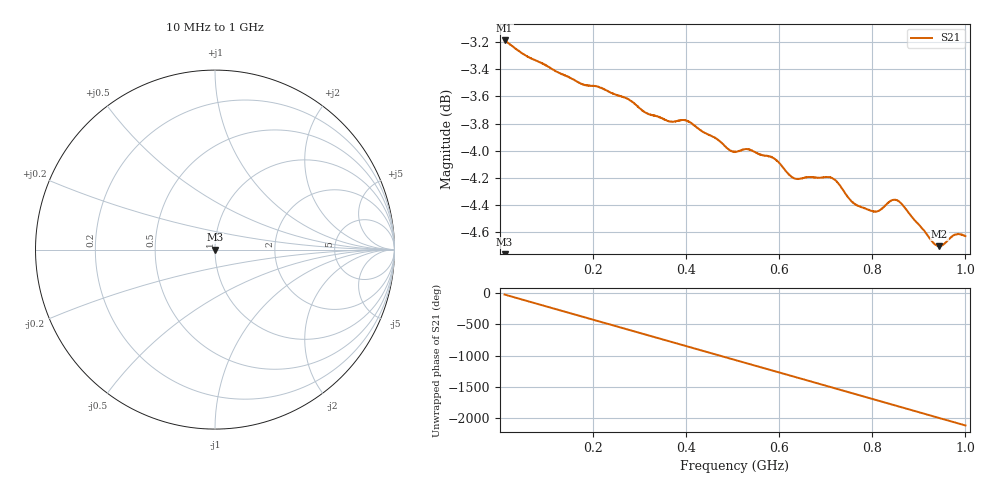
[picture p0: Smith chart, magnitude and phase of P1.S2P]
!Keysight Technologies,E5061B,SG49100003,B.05.06
!Date: Mon Jan 06 14:03:44 2020
!Data & Calibration Information:
!Freq	S11:NONE(--)	S21:RESPT(ON)	S12:NONE(--)	S22:NONE(--)
# Hz S dB R 50
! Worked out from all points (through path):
!   1601 points, 10 MHz to 1 GHz, reference 50 ohm
!   highest |S21| = -3.19 dB at 10 MHz (marker M1); lowest = -4.7 dB at 944.3 MHz (marker M2)
!   group delay of S21, straight-line fit = 5.86 ns
!   lowest |S11| = - dB at 10 MHz (marker M3), VSWR 1.00, Z = 50 + j0 ohm
!   |S11| at or under -10 dB: start of sweep to end of sweep
!   S12 and S22 are empty: the file has one direction only
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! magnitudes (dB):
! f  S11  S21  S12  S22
! 10 MHz  -  -3.2  -  -
! 175.2 MHz  -  -3.5  -  -
! 269.9 MHz  -  -3.6  -  -
! 310.7 MHz  -  -3.7  -  -
! 340.4 MHz  -  -3.7  -  -
! 367 MHz  -  -3.8  -  -
! 402.9 MHz  -  -3.8  -  -
! 505 MHz  -  -4.0  -  -
! 537.2 MHz  -  -4.0  -  -
! 587.9 MHz  -  -4.1  -  -
! 631.2 MHz  -  -4.2  -  -
! 670.2 MHz  -  -4.2  -  -
! 715.4 MHz  -  -4.2  -  -
! 758.7 MHz  -  -4.4  -  -
! 797 MHz  -  -4.4  -  -
! 813.8 MHz  -  -4.4  -  -
! 835.4 MHz  -  -4.4  -  -
! 858.9 MHz  -  -4.4  -  -
! 930.1 MHz  -  -4.7  -  -
! 944.3 MHz  -  -4.7  -  -
! 977.1 MHz  -  -4.6  -  -
! 1 GHz  -  -4.6  -  -
